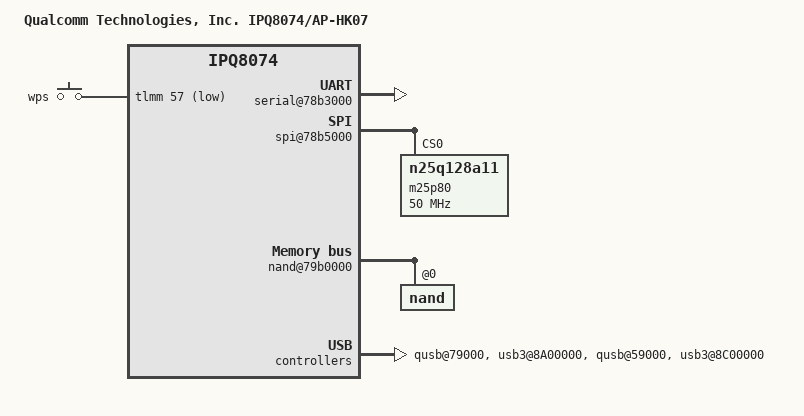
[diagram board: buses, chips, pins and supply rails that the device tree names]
// SPDX-License-Identifier: GPL-2.0-only
/dts-v1/;
/* Copyright (c) 2020 The Linux Foundation. All rights reserved.
 */
#include "ipq8074.dtsi"

/ {
	#address-cells = <0x2>;
	#size-cells = <0x2>;
	model = "Qualcomm Technologies, Inc. IPQ8074/AP-HK07";
	compatible = "qcom,ipq8074-ap-hk07", "qcom,ipq8074";
	interrupt-parent = <&intc>;

	aliases {
		serial0 = &blsp1_uart5;
	};

	chosen {
		stdout-path = "serial0";
	};

	soc {
		pinctrl@1000000 {
			button_pins: button_pins {
				wps_button {
					pins = "gpio57";
					function = "gpio";
					drive-strength = <8>;
					bias-pull-up;
				};
			};
		};

		serial@78b3000 {
			status = "ok";
		};

		spi@78b5000 {
			status = "ok";
			pinctrl-0 = <&spi_0_pins>;
			pinctrl-names = "default";
			cs-select = <0>;

			m25p80@0 {
				  #address-cells = <1>;
				  #size-cells = <1>;
				  reg = <0>;
				  spi-max-frequency = <50000000>;
				  compatible = "n25q128a11";
				  linux,modalias = "m25p80", "n25q128a11";
				  use-default-sizes;
			};
		};

		dma@7984000 {
			 status = "ok";
		};

		nand@79b0000 {
			status = "ok";

			nand@0 {
				reg = <0>;
				#address-cells = <1>;
				#size-cells = <1>;

				nand-ecc-strength = <4>;
				nand-ecc-step-size = <512>;
				nand-bus-width = <8>;
			};
		};

		qusb@79000 {
			status = "ok";
		};

		ssphy@78000 {
			status = "ok";
		};

		usb3@8A00000 {
			status = "ok";
		};

		qusb@59000 {
			status = "ok";
		};

		ssphy@58000 {
			status = "ok";
		};

		usb3@8C00000 {
			status = "ok";
		};

		gpio_keys {
			compatible = "gpio-keys";
			pinctrl-0 = <&button_pins>;
			pinctrl-names = "default";
			status = "ok";

			button@1 {
				label = "wps";
				linux,code = <KEY_WPS_BUTTON>;
				gpios = <&tlmm 57 GPIO_ACTIVE_LOW>;
				linux,input-type = <1>;
				debounce-interval = <60>;
			};
		};
	};
};
